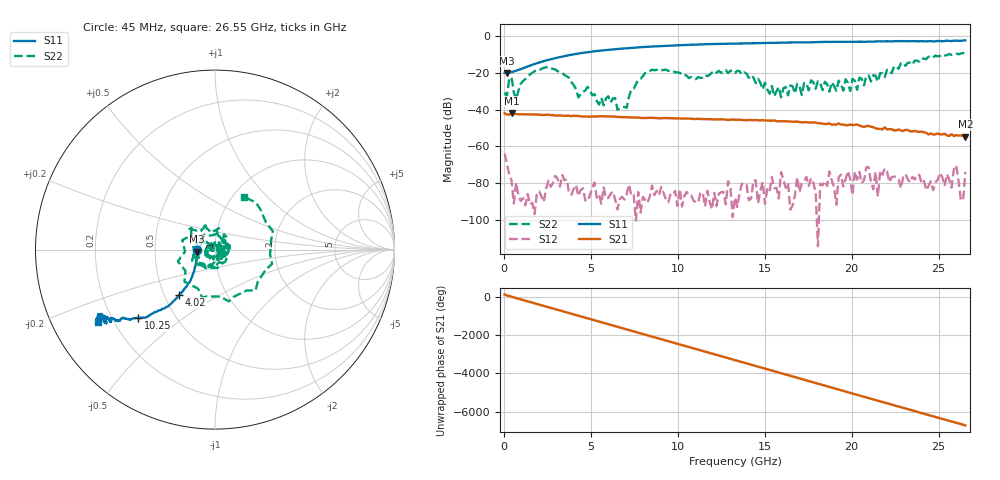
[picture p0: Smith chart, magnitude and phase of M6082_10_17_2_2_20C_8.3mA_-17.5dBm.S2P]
!  2-Port S-parameters saved by WinCal
! VAR MeasName=S-Parameters (CALIBRATED_DATA) read from VNA (C)
! VAR MeasDate=10/16/2015 3:56:28 PM
! VAR NAME=M6082_10_17_2_2_20C_8.3mA_-17.5dBm
! VAR FILENAME=M6082_10_17_2_2_20C_8.3mA_-17.5dBm.S2P
! VAR DATE=10/16/2015 3:56:28 PM
! VAR PHYS_PORTS=2,1
! VAR ObjTypeName=DATASET
! VAR IndexType=Frequency
# Hz S DB R 50
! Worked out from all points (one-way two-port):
!   201 points, 45 MHz to 26.55 GHz, reference 50 ohm
!   highest |S21| = -41.83 dB at 442.5 MHz (marker M1); lowest = -54.7 dB at 26.55 GHz (marker M2)
!   lowest |S11| = -20.0 dB at 177.5 MHz (marker M3), VSWR 1.22, Z = 41 - j0.956 ohm
!   |S11| at or under -10 dB: start of sweep to 3.948 GHz
!   |S22| runs from -40.2 to -9.2 dB; largest |S21 - S12| = 0.008
!   S11 on the Smith chart (normalised r, x): 45 MHz: 0.82, -0.00; 4.02 GHz: 0.60, -0.34; 10.25 GHz: 0.31, -0.35; 26.55 GHz: 0.14, -0.28
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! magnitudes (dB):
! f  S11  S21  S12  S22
! 45 MHz  -20.0  -42.1  -64.0  -30.7
! 177.5 MHz  -20.0  -42.7  -69.8  -32.7
! 442.5 MHz  -19.6  -41.8  -78.7  -22.4
! 707.5 MHz  -18.8  -42.5  -79.8  -34.5
! 2.297 GHz  -13.6  -43.0  -90.5  -17.2
! 4.02 GHz  -9.9  -43.4  -83.2  -26.7
! 4.55 GHz  -9.1  -43.9  -82.9  -30.3
! 7.067 GHz  -6.6  -44.2  -86.0  -39.0
! 7.73 GHz  -6.1  -44.4  -85.0  -23.7
! 8.922 GHz  -5.4  -44.7  -86.8  -18.0
! 10.25 GHz  -4.8  -44.9  -93.0  -21.1
! 13.29 GHz  -4.0  -45.6  -88.0  -20.0
! 15.95 GHz  -3.5  -46.4  -74.1  -33.3
! 17.8 GHz  -3.3  -47.0  -79.9  -25.1
! 19.79 GHz  -3.0  -48.5  -73.6  -25.3
! 20.58 GHz  -3.0  -49.2  -80.2  -23.2
! 20.98 GHz  -3.0  -48.9  -71.4  -21.4
! 21.11 GHz  -3.0  -49.4  -79.4  -24.7
! 21.91 GHz  -2.8  -49.7  -72.1  -22.3
! 22.17 GHz  -2.8  -50.6  -79.6  -18.3
! 26.41 GHz  -2.3  -54.5  -89.6  -9.2
! 26.55 GHz  -2.3  -54.7  -74.0  -9.5
